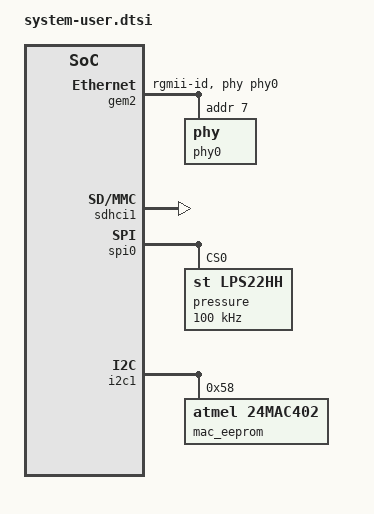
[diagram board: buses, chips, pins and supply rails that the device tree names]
/include/ "system-conf.dtsi"
/ {
   chosen {
      bootargs = "earlycon console=ttyPS0,115200 clk_ignore_unused root=/dev/mmcblk0p2 rw rootwait";
      stdout-path = "serial0:115200n8";
   };

   xlnk {
      compatible = "xlnx,xlnk-1.0";
   };

   chosen {
      xlnx,eeprom= &mac_eeprom;
   };
};

//#include "include/dt-bindings/input/input.h"
//#include "include/dt-bindings/interrupt-controller/irq.h"
//#include "include/dt-bindings/gpio/gpio.h"
//#include "include/dt-bindings/pinctrl/pinctrl-zynqmp.h"
//#include "include/dt-bindings/phy/phy.h"

&gem2 {
   status = "okay";
   /* local-mac-address = [00 0a 35 00 02 90]; */
   phy-mode = "rgmii-id";
   phy-handle = <&phy0>;
   phy0: phy@7 {
      reg = <0x7>;
   };
};

/* QSPI partitions are defined with petalinux-config and described in system.conf.dtsi */
//&qspi { /* MIO 0-5 - U10 */
//   flash@0 { /* ISSI IS25WP256E */
//      compatible = "mt25qu256a", "jedec,spi-nor"; /* 32MB */
//      #address-cells = <1>;
//      #size-cells = <1>;
//      reg = <0>;
//      spi-tx-bus-width = <1>;
//      spi-rx-bus-width = <4>;
//      spi-max-frequency = <50000000>; /* 50MHz */
//   };
//};

/* SD1 for SD card boot */
/* SD1 with level shifter */
/* only supports 3.3V, no level shifter */
&sdhci1 {
   status = "okay";
   no-1-8-v;
   disable-wp;
};

// PYNQ doesn't boot up with any device drivers for this,
//  instead we use Python!
//&axi_iic_0 {
//   #address-cells = <1>;
//   #size-cells = <0>;
//   clock-frequency = <100000>;
//
//   stts22htr: stts22htr@3f {
//      compatible = "st,stts22h";
//      reg = <0x3f>;
//   };
//};

&spi0 {
   num-cs = <1>;
   pressure@00 {
      compatible = "st,lps22hh";
      reg = <0>;
      spi-max-frequency = <100000>;
   };
};

&i2c1 {
   #address-cells = <1>;
   #size-cells = <0>;
   /* Ethernet MAC ID EEPROM */
   mac_eeprom: mac_eeprom@58 { /* U7 */
      compatible = "atmel,24mac402";
      reg = <0x58>;
   };
};

